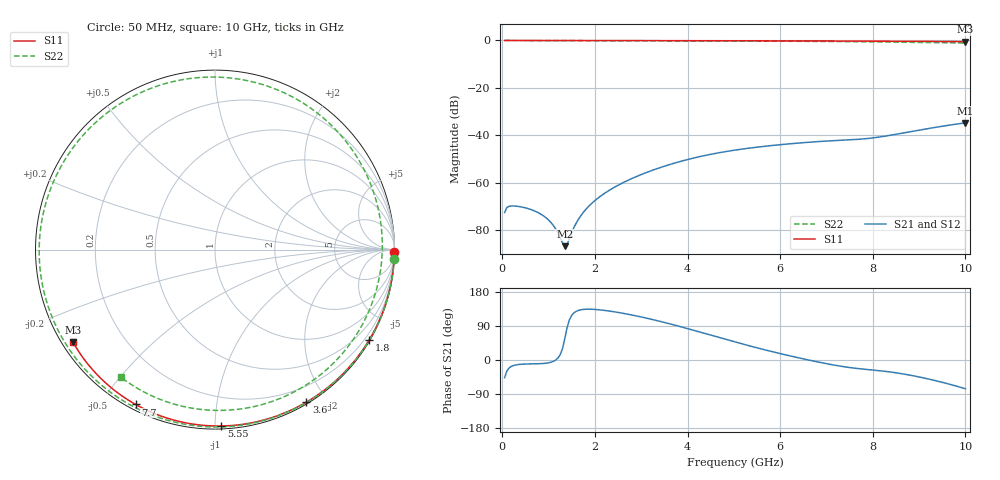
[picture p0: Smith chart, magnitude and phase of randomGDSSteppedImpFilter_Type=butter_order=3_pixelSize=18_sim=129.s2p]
! freq	dB(S11)	phase(S11)	dB(S12)	phase(S12)
!  dB(S21)	phase(S21)	dB(S22)	phase(S22)
!S-par simulation data
#  GHz  S  DB  R 50
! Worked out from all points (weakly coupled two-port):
!   200 points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, 50 MHz to 10 GHz, reference 50 ohm
!   highest |S21| = -34.71 dB at 10 GHz (marker M1); lowest = -86.6 dB at 1.35 GHz (marker M2)
!   lowest |S11| = -0.5 dB at 10 GHz (marker M3), VSWR 35.02, Z = 1.55 - j14.8 ohm
!   |S11| at or under -10 dB: nowhere
!   |S22| runs from -1.1 to 0.0 dB; largest |S21 - S12| = 0
!   S11 on the Smith chart (normalised r, x): 50 MHz: open; 1.8 GHz: 0.03, -3.69; 3.6 GHz: 0.02, -1.76; 5.55 GHz: 0.02, -1.04; 7.7 GHz: 0.02, -0.61; 10 GHz: 0.03, -0.30
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0.05  -0.01 -0.8  -72.44 -46.8  -72.44 -46.8  -0.00 -3.0
0.15  -0.01 -2.6  -69.82 -20.7  -69.82 -20.7  -0.00 -9.1
0.55  -0.01 -9.4  -70.74 -10.4  -70.74 -10.4  -0.03 -32.8
0.9  -0.02 -15.3  -74.00 -9.0  -74.00 -9.0  -0.06 -52.6
1.2  -0.03 -20.4  -80.96 4.9  -80.96 4.9  -0.08 -68.7
1.35  -0.03 -22.9  -86.61 56.4  -86.61 56.4  -0.09 -76.3
1.5  -0.03 -25.4  -80.87 118.1  -80.87 118.1  -0.10 -83.8
1.75  -0.04 -29.5  -72.38 133.5  -72.38 133.5  -0.11 -95.6
1.8  -0.04 -30.3  -71.21 134.0  -71.21 134.0  -0.11 -97.9
2.4  -0.05 -40.1  -62.04 127.5  -62.04 127.5  -0.13 -123.7
3.4  -0.07 -56.0  -53.58 102.2  -53.58 102.2  -0.16 -161.3
3.6  -0.08 -59.1  -52.33 96.0  -52.33 96.0  -0.16 -168.3
4.3  -0.10 -69.7  -48.75 72.6  -48.75 72.6  -0.19 167.6
5.05  -0.12 -80.8  -46.09 46.8  -46.09 46.8  -0.24 141.4
5.55  -0.14 -87.9  -44.81 30.5  -44.81 30.5  -0.27 122.9
6.15  -0.17 -96.3  -43.61 12.6  -43.61 12.6  -0.32 98.7
6.7  -0.20 -103.8  -42.74 -2.3  -42.74 -2.3  -0.38 73.9
7.2  -0.23 -110.5  -42.14 -14.2  -42.14 -14.2  -0.45 48.5
7.7  -0.27 -117.2  -41.60 -22.9  -41.60 -22.9  -0.54 20.3
8.35  -0.32 -125.6  -40.01 -31.1  -40.01 -31.1  -0.69 -20.2
9.2  -0.40 -136.6  -37.08 -50.1  -37.08 -50.1  -0.90 -75.9
10  -0.50 -147.0  -34.71 -75.8  -34.71 -75.8  -1.07 -126.3
